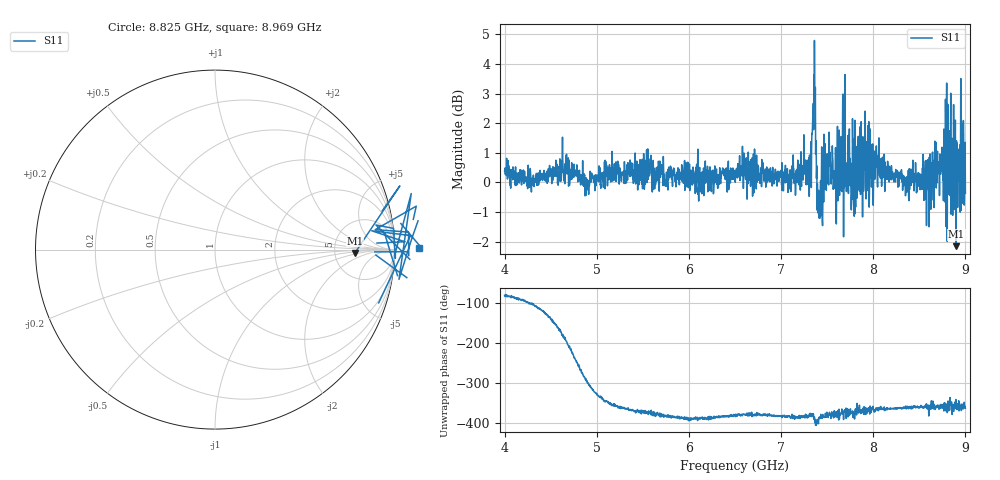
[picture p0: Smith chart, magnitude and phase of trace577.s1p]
! Created with skrf 1.8.0 (http://scikit-rf.org).
# Hz S RI R 50.0
!freq ReS11 ImS11
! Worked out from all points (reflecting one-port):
!   1601 points, 4 GHz to 9 GHz, reference 50 ohm
!   lowest |S11| = -2.2 dB at 8.9 GHz (marker M1), VSWR 8.10, Z = 401 - j37 ohm
!   phase of S11 starts at -82 deg and turns -281 deg over the sweep
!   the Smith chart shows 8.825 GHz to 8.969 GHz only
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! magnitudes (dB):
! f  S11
! 4 GHz  0.4
! 4.312 GHz  0.2
! 4.625 GHz  0.8
! 4.897 GHz  0.1
! 5.25 GHz  0.5
! 5.566 GHz  0.5
! 5.625 GHz  0.4
! 5.875 GHz  0.1
! 6.5 GHz  0.3
! 7.125 GHz  0.5
! 7.303 GHz  0.8
! 7.356 GHz  3.6
! 7.409 GHz  -1.2
! 7.481 GHz  0.0
! 7.538 GHz  0.5
! 7.591 GHz  1.2
! 7.669 GHz  2.9
! 7.75 GHz  -0.1
! 7.775 GHz  2.1
! 7.822 GHz  -0.5
! 7.928 GHz  1.4
! 8.375 GHz  0.0
! 8.603 GHz  -0.3
! 8.656 GHz  0.7
! 8.819 GHz  0.8
! 8.9 GHz  -2.2
! 8.956 GHz  0.7
! 9 GHz  -0.4
